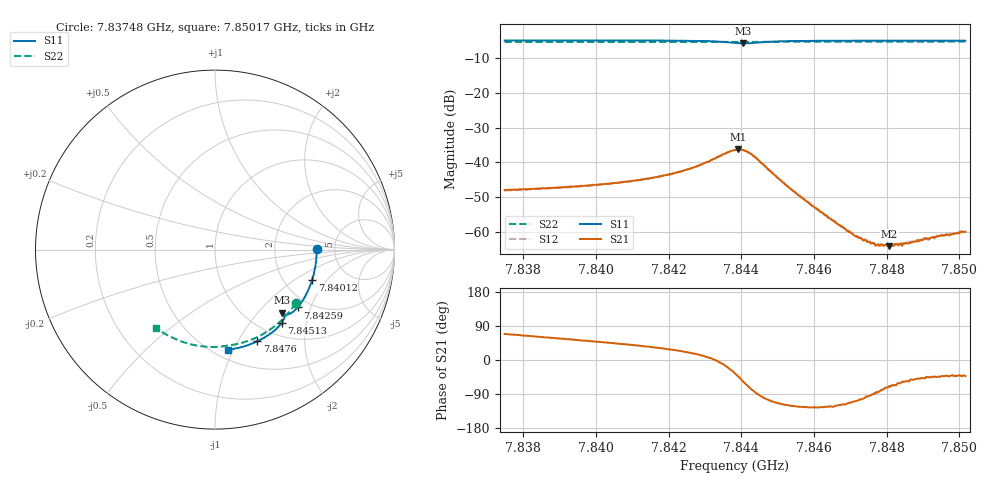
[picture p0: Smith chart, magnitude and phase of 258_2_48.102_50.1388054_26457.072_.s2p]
#  HZ  S  RI  R  50.00
! Rohde & Schwarz Vector Network Analyzer
! Rohde-Schwarz,ZNB20-2Port,1311601062101988,3.16
! Created: UTC 12/23/2023, 4:00:29 AM
! freq[Hz]  re:S11  im:S11  re:S21  im:S21  re:S12  im:S12  re:S22  im:S22
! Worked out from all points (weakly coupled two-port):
!   401 points, 7.83748 GHz to 7.85017 GHz, reference 50 ohm
!   highest |S21| = -36.29 dB at 7.84392 GHz (marker M1); lowest = -64.1 dB at 7.84808 GHz (marker M2)
!   lowest |S11| = -5.8 dB at 7.84405 GHz (marker M3), VSWR 3.11, Z = 71.6 - j68.4 ohm
!   |S11| at or under -10 dB: nowhere
!   |S22| runs from -5.4 to -5.3 dB; largest |S21 - S12| = 0.00025
!   S11 on the Smith chart (normalised r, x): 7.83748 GHz: 3.61, +0.04; 7.84012 GHz: 2.83, -1.42; 7.84259 GHz: 1.73, -1.63; 7.84513 GHz: 1.24, -1.45; 7.8476 GHz: 0.81, -1.21; 7.85017 GHz: 0.58, -0.95
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7.837485e9  0.5664 0.00366  0.00146 0.00371  0.00149 0.00366  0.4495 -0.2989
7.83961e9  0.5502 -0.1368  0.00285 0.00361  0.00281 0.00356  0.3517 -0.4106
7.840117e9  0.5409 -0.1696  0.00327 0.00355  0.00322 0.00352  0.324 -0.4329
7.840973e9  0.5203 -0.224  0.00413 0.00346  0.0041 0.00344  0.2742 -0.4665
7.841734e9  0.4962 -0.2712  0.00534 0.0033  0.00528 0.00332  0.2268 -0.4914
7.842591e9  0.4602 -0.3221  0.00769 0.00269  0.00766 0.0027  0.171 -0.5138
7.843352e9  0.4126 -0.3593  0.012 -0.000658  0.0118 -0.000717  0.1191 -0.5272
7.843827e9  0.3784 -0.3588  0.0123 -0.00871  0.0124 -0.00864  0.0872 -0.532
7.843922e9  0.3755 -0.3551  0.011 -0.0106  0.0109 -0.0106  0.0812 -0.5326
7.844049e9  0.3752 -0.3512  0.00828 -0.0127  0.00845 -0.0125  0.0733 -0.534
7.844366e9  0.3848 -0.3561  0.00126 -0.012  0.00117 -0.0119  0.053 -0.5376
7.845127e9  0.3721 -0.4074  -0.00235 -0.00469  -0.00235 -0.00474  -0.000217 -0.5427
7.845952e9  0.3311 -0.4511  -0.00135 -0.00194  -0.00137 -0.00198  -0.0585 -0.5406
7.847094e9  0.2658 -0.4957  -0.000303 -0.000851  -0.000354 -0.000834  -0.1375 -0.5268
7.847601e9  0.2352 -0.5113  -1.45e-07 -0.000694  -3.68e-05 -0.000698  -0.1717 -0.5172
7.84776e9  0.2253 -0.5158  4.78e-05 -0.000656  6.87e-05 -0.000683  -0.1823 -0.5134
7.848077e9  0.2056 -0.5239  0.000231 -0.000579  0.00023 -0.000623  -0.2032 -0.5056
7.848647e9  0.1697 -0.5369  0.000418 -0.000549  0.000426 -0.000568  -0.2399 -0.4897
7.849091e9  0.1411 -0.5449  0.000573 -0.000561  0.000531 -0.00058  -0.2676 -0.4753
7.849187e9  0.1349 -0.5465  0.000572 -0.00057  0.000566 -0.000548  -0.2734 -0.4723
7.84944e9  0.1185 -0.5502  0.000641 -0.000603  0.00065 -0.000619  -0.2886 -0.4632
7.85017e9  0.0705 -0.558  0.00074 -0.00068  0.000772 -0.000663  -0.3309 -0.4344
